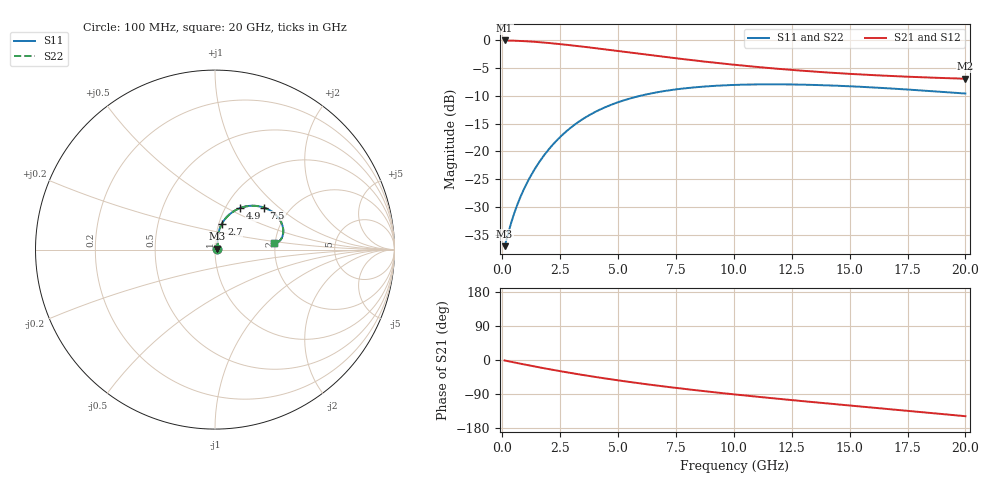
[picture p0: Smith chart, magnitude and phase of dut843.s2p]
! Touchstone file exported from HFSS 2024.1.0
!  File:  C:/UserFiles/LocalFiles/RDL_TSV_Batchsim/temp_RDL_TSV_843_1779920857.aedt
!  Generated:  06:43:04 AM May 28, 2026
!  Design:  RDL_TSV
!  Project:  temp_RDL_TSV_843_1779920857
!  Setup:  Setup1
!  Solution:  Sweep
! Variables:
!  dtsv = 7.33um
!  hbump = 3um
!  htsv = 51.86um
!  ldown = 457.96um
!  lrdl = 225.47um
!  p = 40
!  p1 = 46.72um
!  rhole = 10um
!  subl = 2275.76um
!  t = 450um
!  tdown = 3.95um
!  trdl = 4.32um
!  viad = 10um
!  wdown = 14.03um
!  wrdl = 20.94um
!  xbump = 18um
# GHz S MA R 50.000000
! Terminal data exported
! Port[1] = TM1_1_T1
! Port[2] = TM1_4_T1
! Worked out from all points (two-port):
!   200 points, 100 MHz to 20 GHz, reference 50 ohm
!   highest |S21| = -0.12 dB at 100 MHz (marker M1); lowest = -7.0 dB at 20 GHz (marker M2)
!   |S21| within 3 dB of the highest: start of sweep to 7.125 GHz
!   lowest |S11| = -37.0 dB at 100 MHz (marker M3), VSWR 1.03, Z = 51.3 + j0.51 ohm
!   |S11| at or under -10 dB: start of sweep to 5.994 GHz
!   |S22| runs from -37.0 to -8.0 dB; largest |S21 - S12| = 1.1e-14
!   S11 on the Smith chart (normalised r, x): 100 MHz: 1.03, +0.01; 2.7 GHz: 1.03, +0.30; 4.9 GHz: 1.17, +0.59; 7.5 GHz: 1.49, +0.80; 20 GHz: 1.97, +0.16
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0.1  0.01415 20.6  0.9866 -1.3  0.9866 -1.3  0.01415 20.6
! Gamma 0 0 0 0
! Port Impedance 50 0 50 0
0.4  0.02353 52.9  0.9834 -5.0  0.9834 -5.0  0.02353 52.9
0.6  0.03127 62.6  0.9802 -7.5  0.9802 -7.5  0.03127 62.6
0.8  0.03977 68.7  0.9762 -9.9  0.9762 -9.9  0.03977 68.7
1.1  0.05386 74.1  0.9686 -13.6  0.9686 -13.6  0.05386 74.1
1.4  0.06941 76.9  0.9593 -17.1  0.9593 -17.1  0.06941 76.9
1.8  0.092 78.1  0.9447 -21.7  0.9447 -21.7  0.09199 78.1
2.2  0.1161 77.5  0.9281 -26.2  0.9281 -26.2  0.1161 77.5
2.7  0.1472 75.2  0.9056 -31.6  0.9056 -31.6  0.1472 75.2
3.5  0.1962 69.7  0.8672 -39.7  0.8672 -39.7  0.1962 69.7
4.2  0.2359 64.3  0.8328 -46.4  0.8328 -46.4  0.2359 64.2
4.9  0.2712 58.7  0.7986 -52.8  0.7986 -52.8  0.2711 58.7
5.8  0.3091 51.9  0.7561 -60.5  0.7561 -60.5  0.3091 51.9
6.8  0.3419 45.0  0.712 -68.4  0.712 -68.4  0.3418 45.0
7.5  0.3595 40.6  0.6834 -73.6  0.6834 -73.6  0.3594 40.6
8.8  0.3823 33.3  0.6358 -82.8  0.6358 -82.8  0.3822 33.3
10.1  0.3947 27.1  0.5953 -91.3  0.5953 -91.3  0.3946 27.1
11.7  0.3992 20.7  0.5544 -101.1  0.5544 -101.1  0.3991 20.7
13.4  0.3944 15.2  0.5203 -111.0  0.5203 -111.0  0.3944 15.2
15  0.3835 11.2  0.4953 -120.1  0.4953 -120.1  0.3835 11.2
16.7  0.3672 8.2  0.4749 -129.6  0.4749 -129.6  0.3672 8.2
20  0.3301 6.3  0.4479 -148.3  0.4479 -148.3  0.3301 6.2
